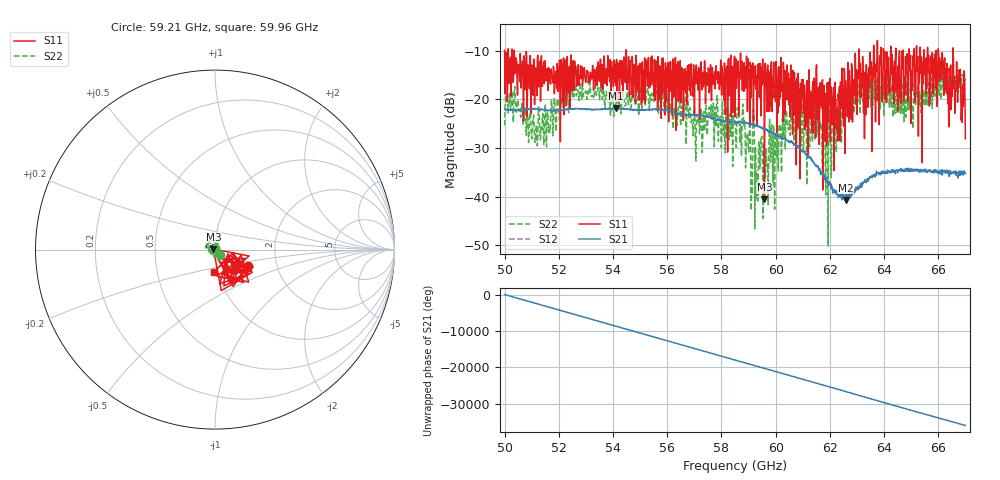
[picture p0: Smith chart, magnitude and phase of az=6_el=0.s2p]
!Created with skrf (http://scikit-rf.org).
# GHz S RI R 50.0
!freq ReS11 ImS11 ReS21 ImS21 ReS12 ImS12 ReS22 ImS22
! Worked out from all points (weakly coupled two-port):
!   1001 points, 50 GHz to 67 GHz, reference 50 ohm
!   highest |S21| = -21.76 dB at 54.1 GHz (marker M1); lowest = -40.7 dB at 62.58 GHz (marker M2)
!   lowest |S11| = -40.6 dB at 59.59 GHz (marker M3), VSWR 1.02, Z = 49.1 + j0.278 ohm
!   |S11| at or under -10 dB: 50.36 GHz to 54.49 GHz (4.13 GHz wide, 7.88 % of centre); 54.49 GHz to 63.07 GHz (8.583 GHz wide, 14.6 % of centre); 63.08 GHz to 63.61 GHz (538.6 MHz wide, 0.85 % of centre) (the widest 3 of 23)
!   |S22| runs from -50.2 to -13.9 dB; largest |S21 - S12| = 0.0027
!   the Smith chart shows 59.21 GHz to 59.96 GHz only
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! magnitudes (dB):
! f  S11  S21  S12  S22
! 50 GHz  -9.9  -22.0  -22.0  -25.4
! 50.42 GHz  -13.6  -22.2  -22.2  -22.6
! 51.14 GHz  -13.5  -22.0  -22.0  -28.6
! 52.84 GHz  -14.3  -22.0  -21.9  -20.0
! 54.1 GHz  -17.1  -21.8  -21.8  -21.7
! 55.68 GHz  -13.1  -22.1  -22.1  -22.9
! 56.99 GHz  -14.6  -23.2  -23.2  -21.8
! 57.62 GHz  -15.7  -23.9  -23.8  -21.0
! 58.5 GHz  -23.6  -24.8  -24.7  -25.2
! 58.79 GHz  -13.9  -24.9  -24.9  -21.0
! 59.3 GHz  -15.1  -25.4  -25.5  -38.0
! 59.59 GHz  -40.6  -26.1  -26.1  -31.0
! 60.64 GHz  -14.0  -28.9  -29.0  -22.3
! 61.34 GHz  -26.8  -32.4  -32.4  -25.6
! 62 GHz  -15.6  -37.0  -37.1  -25.0
! 62.58 GHz  -16.1  -40.7  -40.4  -19.6
! 63.01 GHz  -23.1  -38.6  -38.0  -20.3
! 64.18 GHz  -18.6  -34.9  -34.8  -18.2
! 66.08 GHz  -15.3  -34.9  -34.6  -15.5
! 66.42 GHz  -15.2  -35.4  -35.0  -16.2
! 66.75 GHz  -17.6  -35.3  -35.3  -18.4
! 67 GHz  -28.1  -35.2  -35.2  -15.9
